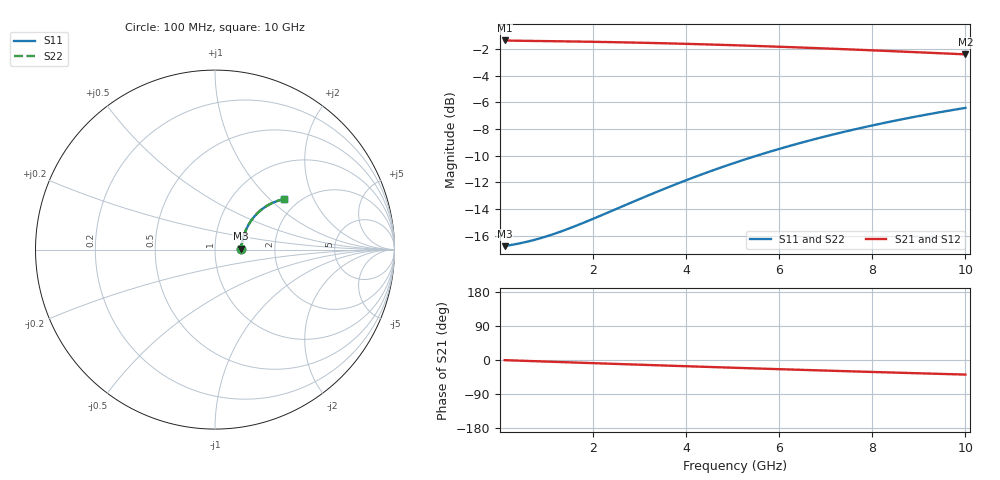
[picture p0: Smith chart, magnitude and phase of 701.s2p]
# Hz S RI R 50.00
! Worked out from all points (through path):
!   100 points, 100 MHz to 10 GHz, reference 50 ohm
!   highest |S21| = -1.36 dB at 100 MHz (marker M1); lowest = -2.4 dB at 10 GHz (marker M2)
!   group delay of S21, straight-line fit = 10.7 ps
!   lowest |S11| = -16.8 dB at 100 MHz (marker M3), VSWR 1.34, Z = 66.9 + j0.598 ohm
!   |S11| at or under -10 dB: start of sweep to 5.515 GHz
!   |S22| runs from -16.8 to -6.4 dB; largest |S21 - S12| = 0
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1e8  0.1448 0.00437  0.8552 -0.00625  0.8552 -0.00625  0.1448 0.00437
5e8  0.1479 0.0217  0.8521 -0.0311  0.8521 -0.0311  0.1479 0.0217
7e8  0.1493 0.0303  0.8506 -0.0434  0.8506 -0.0434  0.1493 0.0303
9e8  0.1509 0.0388  0.849 -0.0557  0.849 -0.0557  0.1509 0.0388
1.1e9  0.1526 0.0473  0.8472 -0.0679  0.8472 -0.0679  0.1526 0.0473
1.3e9  0.1545 0.0557  0.8452 -0.0801  0.8452 -0.0801  0.1545 0.0557
1.8e9  0.1602 0.0764  0.8392 -0.1102  0.8392 -0.1102  0.1602 0.0764
2.6e9  0.172 0.1083  0.8267 -0.1572  0.8267 -0.1572  0.172 0.1083
3.4e9  0.187 0.1384  0.8108 -0.2023  0.8108 -0.2023  0.187 0.1384
3.9e9  0.1979 0.156  0.7992 -0.2293  0.7992 -0.2293  0.1979 0.156
4.3e9  0.2074 0.1694  0.7891 -0.2503  0.7891 -0.2503  0.2074 0.1694
4.7e9  0.2175 0.1822  0.7782 -0.2707  0.7782 -0.2707  0.2175 0.1822
5.1e9  0.2282 0.1943  0.7668 -0.2903  0.7668 -0.2903  0.2282 0.1943
5.5e9  0.2395 0.2056  0.7547 -0.3093  0.7547 -0.3093  0.2395 0.2056
5.9e9  0.2512 0.2162  0.7421 -0.3275  0.7421 -0.3275  0.2512 0.2162
6.3e9  0.2634 0.2261  0.729 -0.345  0.729 -0.345  0.2634 0.2261
6.7e9  0.2759 0.2352  0.7155 -0.3617  0.7155 -0.3617  0.2759 0.2352
7.5e9  0.3018 0.2511  0.6874 -0.3929  0.6874 -0.3929  0.3018 0.2511
7.9e9  0.3151 0.2578  0.6729 -0.4074  0.6729 -0.4074  0.3151 0.2578
8.4e9  0.3319 0.2653  0.6544 -0.4244  0.6544 -0.4244  0.3319 0.2653
9.2e9  0.359 0.2747  0.6244 -0.4494  0.6244 -0.4494  0.359 0.2747
1e10  0.3863 0.2813  0.5941 -0.4716  0.5941 -0.4716  0.3863 0.2813
